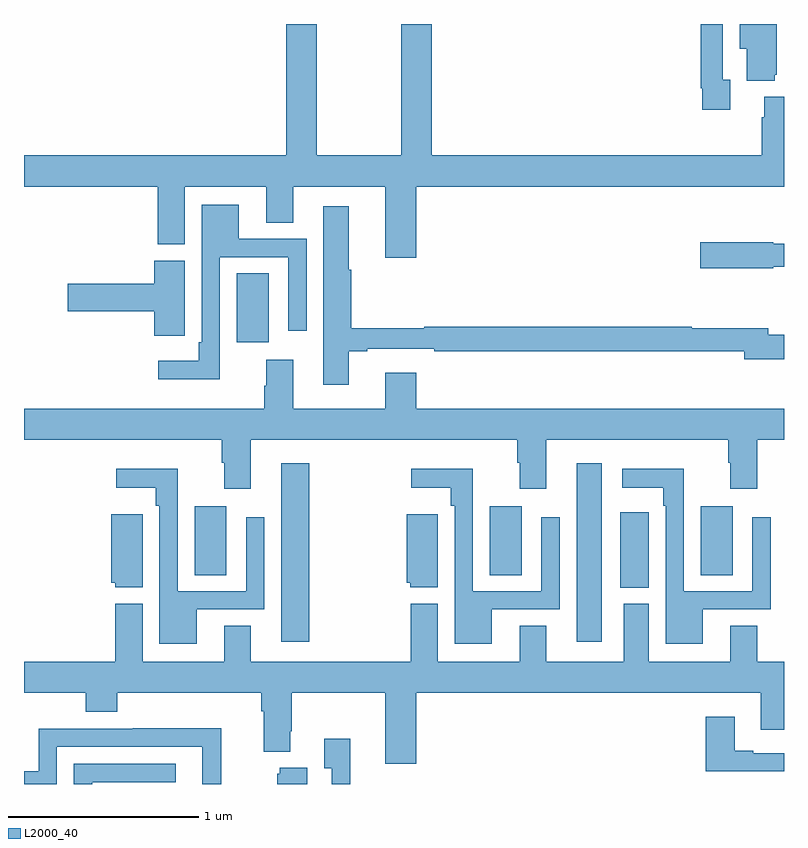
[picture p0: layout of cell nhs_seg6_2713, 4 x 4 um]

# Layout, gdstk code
import gdstk
lib = gdstk.Library(unit=1e-6, precision=1e-09)
def R(c, l, rs):  # rectangles x0, y0, x1, y1
    for r in rs: c.add(gdstk.rectangle(r[:2], r[2:], *l))
def P(c, l, *ps):  # polygons
    for p in ps: c.add(gdstk.Polygon(p, *l))
L2000_40 = (2000, 40)

nhs_seg6_2713 = lib.new_cell('nhs_seg6_2713')
R(nhs_seg6_2713, L2000_40, [(272.354,970.248,272.501,971.188), (273.908,970.248,274.042,971.188), (274.139,970.534,274.288,970.93), (271.898,970.6,272.065,970.963), (273.452,970.6,273.619,970.963), (274.562,970.6,274.729,970.963), (272.12,971.826,272.287,972.188)])
P(nhs_seg6_2713, L2000_40, [(273.064,972.644),(275,972.644),(275,973.117),(274.895,973.117),(274.895,973.01),(274.883,973.01),(274.883,972.808),(273.146,972.808),(273.146,973.5),(272.986,973.5),(272.986,972.808),(272.541,972.808),(272.541,973.5),(272.381,973.5),(272.381,972.808),(271,972.808),(271,972.644),(271.703,972.644),(271.703,972.34),(271.846,972.34),(271.846,972.644),(272.276,972.644),(272.276,972.454),(272.416,972.454),(272.416,972.644),(272.9,972.644),(272.9,972.27),(273.064,972.27)],
  [(274.717,973.206),(274.677,973.206),(274.677,973.5),(274.561,973.5),(274.561,973.162),(274.569,973.162),(274.569,973.05),(274.717,973.05)],
  [(274.952,973.233),(274.963,973.233),(274.963,973.5),(274.766,973.5),(274.766,973.37),(274.805,973.37),(274.805,973.202),(274.952,973.202)],
  [(272.031,972.273),(272.391,972.273),(272.391,971.886),(272.487,971.886),(272.487,972.369),(272.131,972.369),(272.131,972.55),(271.935,972.55),(271.935,971.824),(271.919,971.824),(271.919,971.728),(271.707,971.728),(271.707,971.63),(272.031,971.63)],
  [(272.71,971.778),(272.806,971.778),(272.806,971.79),(273.16,971.79),(273.16,971.778),(274.79,971.778),(274.79,971.735),(275,971.735),(275,971.865),(274.918,971.865),(274.918,971.899),(274.514,971.899),(274.514,971.906),(273.106,971.906),(273.106,971.899),(272.723,971.899),(272.723,972.206),(272.71,972.206),(272.71,972.541),(272.576,972.541),(272.576,971.601),(272.71,971.601)],
  [(274.944,972.222),(275,972.222),(275,972.343),(274.944,972.343),(274.944,972.351),(274.56,972.351),(274.56,972.214),(274.944,972.214)],
  [(271.845,971.971),(271.846,971.971),(271.846,972.255),(271.685,972.255),(271.685,972.134),(271.23,972.134),(271.23,971.987),(271.685,971.987),(271.685,971.859),(271.845,971.859)],
  [(272.194,971.312),(273.596,971.312),(273.596,971.192),(273.608,971.192),(273.608,971.055),(273.748,971.055),(273.748,971.312),(274.706,971.312),(274.706,971.192),(274.718,971.192),(274.718,971.055),(274.858,971.055),(274.858,971.312),(275,971.312),(275,971.476),(273.064,971.476),(273.064,971.665),(272.9,971.665),(272.9,971.476),(272.416,971.476),(272.416,971.734),(272.276,971.734),(272.276,971.597),(272.264,971.597),(272.264,971.476),(271,971.476),(271,971.312),(272.042,971.312),(272.042,971.192),(272.054,971.192),(272.054,971.055),(272.194,971.055)],
  [(271.909,970.419),(272.265,970.419),(272.265,970.903),(272.169,970.903),(272.169,970.515),(271.809,970.515),(271.809,971.158),(271.485,971.158),(271.485,971.06),(271.693,971.06),(271.693,970.964),(271.713,970.964),(271.713,970.238),(271.909,970.238)],
  [(273.463,970.419),(273.819,970.419),(273.819,970.903),(273.723,970.903),(273.723,970.515),(273.363,970.515),(273.363,971.158),(273.039,971.158),(273.039,971.06),(273.247,971.06),(273.247,970.964),(273.267,970.964),(273.267,970.238),(273.463,970.238)],
  [(274.573,970.419),(274.929,970.419),(274.929,970.903),(274.833,970.903),(274.833,970.515),(274.473,970.515),(274.473,971.158),(274.149,971.158),(274.149,971.06),(274.365,971.06),(274.365,970.964),(274.377,970.964),(274.377,970.238),(274.573,970.238)],
  [(273.178,970.921),(273.014,970.921),(273.014,970.56),(273.033,970.56),(273.033,970.535),(273.178,970.535)],
  [(271.624,970.921),(271.46,970.921),(271.46,970.56),(271.479,970.56),(271.479,970.535),(271.624,970.535)],
  [(273.064,969.98),(274.877,969.98),(274.877,969.786),(275,969.786),(275,970.144),(274.858,970.144),(274.858,970.334),(274.718,970.334),(274.718,970.144),(274.288,970.144),(274.288,970.449),(274.157,970.449),(274.157,970.144),(273.748,970.144),(273.748,970.334),(273.608,970.334),(273.608,970.144),(273.178,970.144),(273.178,970.45),(273.035,970.45),(273.035,970.144),(272.194,970.144),(272.194,970.334),(272.054,970.334),(272.054,970.144),(271.624,970.144),(271.624,970.45),(271.481,970.45),(271.481,970.144),(271,970.144),(271,969.98),(271.325,969.98),(271.325,969.881),(271.49,969.881),(271.49,969.98),(272.249,969.98),(272.249,969.884),(272.261,969.884),(272.261,969.671),(272.401,969.671),(272.401,969.778),(272.409,969.778),(272.409,969.98),(272.9,969.98),(272.9,969.606),(273.064,969.606)],
  [(275,969.663),(274.837,969.663),(274.837,969.676),(274.741,969.676),(274.741,969.853),(274.589,969.853),(274.589,969.566),(275,969.566)],
  [(271.173,969.696),(271.938,969.696),(271.938,969.5),(272.037,969.5),(272.037,969.794),(271.573,969.794),(271.573,969.792),(271.077,969.792),(271.077,969.567),(271,969.567),(271,969.5),(271.173,969.5)],
  [(272.717,969.739),(272.579,969.739),(272.579,969.583),(272.619,969.583),(272.619,969.5),(272.717,969.5)],
  [(271.359,969.51),(271.798,969.51),(271.798,969.606),(271.263,969.606),(271.263,969.5),(271.359,969.5)],
  [(272.491,969.586),(272.345,969.586),(272.345,969.555),(272.333,969.555),(272.333,969.5),(272.491,969.5)])

lib.write_gds('nhs_seg6_2713.gds')
